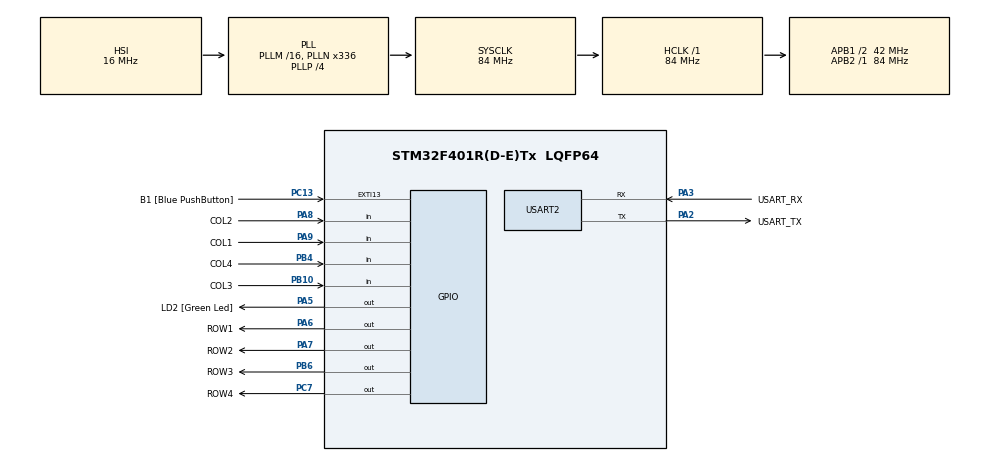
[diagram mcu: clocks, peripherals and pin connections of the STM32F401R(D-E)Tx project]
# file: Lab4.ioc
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Mcu.Family=STM32F4
Mcu.Name=STM32F401R(D-E)Tx
Mcu.Package=LQFP64
NVIC.PriorityGroup=NVIC_PRIORITYGROUP_4
PA13.GPIO_Label=TMS
PA13.Signal=SYS_JTMS-SWDIO
PA14.GPIO_Label=TCK
PA14.Signal=SYS_JTCK-SWCLK
PA2.GPIO_Label=USART_TX
PA2.GPIO_Mode=GPIO_MODE_AF_PP
PA2.GPIO_PuPd=GPIO_NOPULL
PA2.GPIO_Speed=GPIO_SPEED_FREQ_LOW
PA2.Mode=Asynchronous
PA2.Signal=USART2_TX
PA3.GPIO_Label=USART_RX
PA3.GPIO_Mode=GPIO_MODE_AF_PP
PA3.GPIO_PuPd=GPIO_NOPULL
PA3.GPIO_Speed=GPIO_SPEED_FREQ_LOW
PA3.Mode=Asynchronous
PA3.Signal=USART2_RX
PA5.GPIO_Label=LD2 [Green Led]
PA5.GPIO_Mode=GPIO_MODE_OUTPUT_PP
PA5.GPIO_PuPd=GPIO_NOPULL
PA5.GPIO_Speed=GPIO_SPEED_FREQ_LOW
PA5.Signal=GPIO_Output
PA6.GPIO_Label=ROW1
PA6.Signal=GPIO_Output
PA7.GPIO_Label=ROW2
PA7.Signal=GPIO_Output
PA8.GPIO_Label=COL2
PA8.GPIO_PuPd=GPIO_PULLUP
PA8.Signal=GPIO_Input
PA9.GPIO_Label=COL1
PA9.GPIO_PuPd=GPIO_PULLUP
PA9.Signal=GPIO_Input
PB10.GPIO_Label=COL3
PB10.GPIO_PuPd=GPIO_PULLUP
PB10.Signal=GPIO_Input
PB4.GPIO_Label=COL4
PB4.GPIO_PuPd=GPIO_PULLUP
PB4.Signal=GPIO_Input
PB6.GPIO_Label=ROW3
PB6.Signal=GPIO_Output
PC13-ANTI_TAMP.GPIO_Label=B1 [Blue PushButton]
PC13-ANTI_TAMP.GPIO_ModeDefaultEXTI=GPIO_MODE_IT_FALLING
PC13-ANTI_TAMP.GPIO_PuPd=GPIO_NOPULL
PC13-ANTI_TAMP.Signal=GPXTI13
PC14-OSC32_IN.Mode=LSE-External-Oscillator
PC14-OSC32_IN.Signal=RCC_OSC32_IN
PC15-OSC32_OUT.Mode=LSE-External-Oscillator
PC15-OSC32_OUT.Signal=RCC_OSC32_OUT
PC7.GPIO_Label=ROW4
PC7.Signal=GPIO_Output
PH0\ -\ OSC_IN.Mode=HSE-External-Clock-Source
PH0\ -\ OSC_IN.Signal=RCC_OSC_IN
PH1\ -\ OSC_OUT.Mode=HSE-External-Clock-Source
PH1\ -\ OSC_OUT.Signal=RCC_OSC_OUT
ProjectManager.HeapSize=0x200
ProjectManager.StackSize=0x400
ProjectManager.TargetToolchain=STM32CubeIDE
RCC.48MHZClocksFreq_Value=48000000
RCC.AHBFreq_Value=84000000
RCC.APB1CLKDivider=RCC_HCLK_DIV2
RCC.APB1Freq_Value=42000000
RCC.APB1TimFreq_Value=84000000
RCC.APB2Freq_Value=84000000
RCC.APB2TimFreq_Value=84000000
RCC.CortexFreq_Value=84000000
RCC.HCLKFreq_Value=84000000
RCC.HSE_VALUE=8000000
RCC.HSI_VALUE=16000000
RCC.PLLN=336
RCC.PLLP=RCC_PLLP_DIV4
RCC.PLLQ=7
RCC.SYSCLKFreq_VALUE=84000000
RCC.SYSCLKSource=RCC_SYSCLKSOURCE_PLLCLK
RCC.VCOOutputFreq_Value=336000000
USART2.VirtualMode=VM_ASYNC
board=NUCLEO-F401RE

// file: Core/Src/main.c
/* USER CODE BEGIN Header */
/**
  ******************************************************************************
  * @file           : main.c
  * @brief          : Main program body
  ******************************************************************************
  * @attention
  *
  * Copyright (c) 2025 STMicroelectronics.
  * All rights reserved.
  *
  * This software is licensed under terms that can be found in the LICENSE file
  * in the root directory of this software component.
  * If no LICENSE file comes with this software, it is provided AS-IS.
  *
  ******************************************************************************
  */
/* USER CODE END Header */
#include "main.h"

/* USER CODE BEGIN Includes */
#include "stdio.h"
#include <string.h>
#include <GPIO_util.h>
#include <Keypad_util.h>

/* USER CODE END Includes */

UART_HandleTypeDef huart2;

void SystemClock_Config(void);
static void MX_GPIO_Init(void);
static void MX_USART2_UART_Init(void);

/* USER CODE BEGIN 0 */
extern void initialise_monitor_handles(void);
/* USER CODE END 0 */

int main(void)
{

  /* MCU Configuration--------------------------------------------------------*/

  /* Reset of all peripherals, Initializes the Flash interface and the Systick. */
  HAL_Init();

  /* Configure the system clock */
  SystemClock_Config();

  /* Initialize all configured peripherals */
  MX_GPIO_Init();
  MX_USART2_UART_Init();
  /* USER CODE BEGIN 2 */
  initialise_monitor_handles();
  /* USER CODE END 2 */

  /* Infinite loop */
  /* USER CODE BEGIN WHILE */

  char inputChar;
  char key_map [4][4] = {
		  {'1', '2', '3', 'A'},
		  {'4', '5', '6', 'B'},
		  {'7', '8', '9', 'C'},
		  {'*', '0', '#', 'D'}
		  };
  const int DEBOUNCE_MAX = 3;
  int debounceCount = 0;
  int inputSuccess = 0;

  int width = 5;
  char CODE[6] = "2753#";
  char clear = '*';

  char inputCode[6] = "00000";
  int passwordIndex = 0;
  HAL_GPIO_WritePin(GPIOA, GPIO_PIN_5, GPIO_PIN_RESET);
  while (1)
  {
	  for (int i = 0; i < 4; i++){
		  GPIO_util_setRow(i);
		  HAL_Delay(5);
		  for (int j = 0; j < 4; j++){
			  if (GPIO_util_readCol(j) == 0){
				  //inputSuccess integer is the flag that allows enterPasscode to actually write to the inputCode[] string
				  Keypad_util_debounceKeypad(&debounceCount, DEBOUNCE_MAX, i, j, key_map, &inputChar, &inputSuccess);
				  //write the inputCode if inputSuccess is 1;
				  //the * key will clear the inputCode and turn off pin PA5
				  Keypad_util_enterPasscode(width, &passwordIndex, inputChar, CODE, inputCode, clear, &inputSuccess);
				  HAL_Delay(5);
			  }
		  }
	  }

	  if (strcmp(CODE, inputCode) == 0){
		  HAL_GPIO_WritePin(GPIOA, GPIO_PIN_5, GPIO_PIN_SET);
	  }
    /* USER CODE END WHILE */

  }
}

void SystemClock_Config(void)
{
  RCC_OscInitTypeDef RCC_OscInitStruct = {0};
  RCC_ClkInitTypeDef RCC_ClkInitStruct = {0};

  /** Configure the main internal regulator output voltage
  */
  __HAL_RCC_PWR_CLK_ENABLE();
  __HAL_PWR_VOLTAGESCALING_CONFIG(PWR_REGULATOR_VOLTAGE_SCALE2);

  /** Initializes the RCC Oscillators according to the specified parameters
  * in the RCC_OscInitTypeDef structure.
  */
  RCC_OscInitStruct.OscillatorType = RCC_OSCILLATORTYPE_HSI;
  RCC_OscInitStruct.HSIState = RCC_HSI_ON;
  RCC_OscInitStruct.HSICalibrationValue = RCC_HSICALIBRATION_DEFAULT;
  RCC_OscInitStruct.PLL.PLLState = RCC_PLL_ON;
  RCC_OscInitStruct.PLL.PLLSource = RCC_PLLSOURCE_HSI;
  RCC_OscInitStruct.PLL.PLLM = 16;
  RCC_OscInitStruct.PLL.PLLN = 336;
  RCC_OscInitStruct.PLL.PLLP = RCC_PLLP_DIV4;
  RCC_OscInitStruct.PLL.PLLQ = 7;
  if (HAL_RCC_OscConfig(&RCC_OscInitStruct) != HAL_OK)
  {
    Error_Handler();
  }

  /** Initializes the CPU, AHB and APB buses clocks
  */
  RCC_ClkInitStruct.ClockType = RCC_CLOCKTYPE_HCLK|RCC_CLOCKTYPE_SYSCLK
                              |RCC_CLOCKTYPE_PCLK1|RCC_CLOCKTYPE_PCLK2;
  RCC_ClkInitStruct.SYSCLKSource = RCC_SYSCLKSOURCE_PLLCLK;
  RCC_ClkInitStruct.AHBCLKDivider = RCC_SYSCLK_DIV1;
  RCC_ClkInitStruct.APB1CLKDivider = RCC_HCLK_DIV2;
  RCC_ClkInitStruct.APB2CLKDivider = RCC_HCLK_DIV1;

  if (HAL_RCC_ClockConfig(&RCC_ClkInitStruct, FLASH_LATENCY_2) != HAL_OK)
  {
    Error_Handler();
  }
}

static void MX_USART2_UART_Init(void)
{

  huart2.Instance = USART2;
  huart2.Init.BaudRate = 115200;
  huart2.Init.WordLength = UART_WORDLENGTH_8B;
  huart2.Init.StopBits = UART_STOPBITS_1;
  huart2.Init.Parity = UART_PARITY_NONE;
  huart2.Init.Mode = UART_MODE_TX_RX;
  huart2.Init.HwFlowCtl = UART_HWCONTROL_NONE;
  huart2.Init.OverSampling = UART_OVERSAMPLING_16;
  if (HAL_UART_Init(&huart2) != HAL_OK)
  {
    Error_Handler();
  }

}

static void MX_GPIO_Init(void)
{
  GPIO_InitTypeDef GPIO_InitStruct = {0};

  /* GPIO Ports Clock Enable */
  __HAL_RCC_GPIOC_CLK_ENABLE();
  __HAL_RCC_GPIOH_CLK_ENABLE();
  __HAL_RCC_GPIOA_CLK_ENABLE();
  __HAL_RCC_GPIOB_CLK_ENABLE();

  /*Configure GPIO pin Output Level */
  HAL_GPIO_WritePin(GPIOA, LD2_Pin|ROW1_Pin|ROW2_Pin, GPIO_PIN_RESET);

  /*Configure GPIO pin Output Level */
  HAL_GPIO_WritePin(ROW4_GPIO_Port, ROW4_Pin, GPIO_PIN_RESET);

  /*Configure GPIO pin Output Level */
  HAL_GPIO_WritePin(ROW3_GPIO_Port, ROW3_Pin, GPIO_PIN_RESET);

  /*Configure GPIO pin : B1_Pin */
  GPIO_InitStruct.Pin = B1_Pin;
  GPIO_InitStruct.Mode = GPIO_MODE_IT_FALLING;
  GPIO_InitStruct.Pull = GPIO_NOPULL;
  HAL_GPIO_Init(B1_GPIO_Port, &GPIO_InitStruct);

  /*Configure GPIO pins : LD2_Pin ROW1_Pin ROW2_Pin */
  GPIO_InitStruct.Pin = LD2_Pin|ROW1_Pin|ROW2_Pin;
  GPIO_InitStruct.Mode = GPIO_MODE_OUTPUT_PP;
  GPIO_InitStruct.Pull = GPIO_NOPULL;
  GPIO_InitStruct.Speed = GPIO_SPEED_FREQ_LOW;
  HAL_GPIO_Init(GPIOA, &GPIO_InitStruct);

  /*Configure GPIO pins : COL3_Pin COL4_Pin */
  GPIO_InitStruct.Pin = COL3_Pin|COL4_Pin;
  GPIO_InitStruct.Mode = GPIO_MODE_INPUT;
  GPIO_InitStruct.Pull = GPIO_PULLUP;
  HAL_GPIO_Init(GPIOB, &GPIO_InitStruct);

  /*Configure GPIO pin : ROW4_Pin */
  GPIO_InitStruct.Pin = ROW4_Pin;
  GPIO_InitStruct.Mode = GPIO_MODE_OUTPUT_PP;
  GPIO_InitStruct.Pull = GPIO_NOPULL;
  GPIO_InitStruct.Speed = GPIO_SPEED_FREQ_LOW;
  HAL_GPIO_Init(ROW4_GPIO_Port, &GPIO_InitStruct);

  /*Configure GPIO pins : COL2_Pin COL1_Pin */
  GPIO_InitStruct.Pin = COL2_Pin|COL1_Pin;
  GPIO_InitStruct.Mode = GPIO_MODE_INPUT;
  GPIO_InitStruct.Pull = GPIO_PULLUP;
  HAL_GPIO_Init(GPIOA, &GPIO_InitStruct);

  /*Configure GPIO pin : ROW3_Pin */
  GPIO_InitStruct.Pin = ROW3_Pin;
  GPIO_InitStruct.Mode = GPIO_MODE_OUTPUT_PP;
  GPIO_InitStruct.Pull = GPIO_NOPULL;
  GPIO_InitStruct.Speed = GPIO_SPEED_FREQ_LOW;
  HAL_GPIO_Init(ROW3_GPIO_Port, &GPIO_InitStruct);

}

void Error_Handler(void)
{
  __disable_irq();
  while (1)
  {
  }
}
